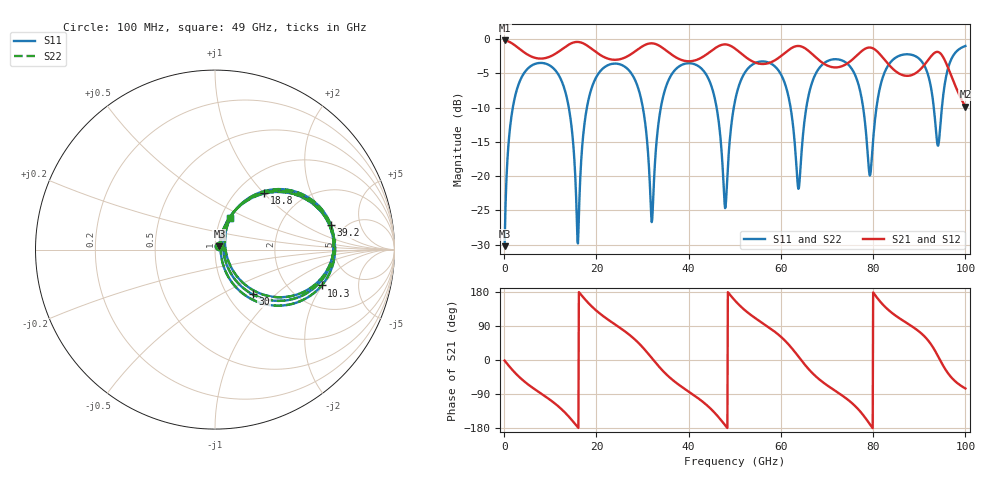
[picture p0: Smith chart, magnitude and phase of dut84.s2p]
! Touchstone file exported from HFSS 2026.1.0
!  File:  C:/ffzhzh/LocalFiles/Ansys_Project_Files/temp_train_TSV_RDL_84_1783451899_7600.aedt
!  Generated:  03:37:07 AM Jul  8, 2026
!  Design:  TSV_RDL
!  Project:  temp_train_TSV_RDL_84_1783451899_7600
! Variables:
!  h_bsmrdl = 3.26um
!  h_ox = 20um
!  h_rdl = 5um
!  h_sub = 93.57um
!  h_tmrdl = 3.84um
!  h_tsv = 93.57um
!  h_via = 3um
!  l_bsmrdl = 325.99um
!  l_sub = 3578.33um
!  l_tmrdl = 530.68um
!  m_sub = 200um
!  pitch = 57.56um
!  r_tsv = 6.75um
!  s_tmrdl = 10um
!  w_bsmrdl = 11.07um
!  w_sub = 500um
!  w_tmrdl = 14.81um
!  x_tsv_center1 = 538.085um
!  x_tsv_center2 = 875.145um
!  x_tsv_center3 = 1420.635um
!  x_tsv_center4 = 1757.695um
!  x_tsv_center5 = 2303.185um
!  x_tsv_center6 = 2640.245um
# GHz S MA R 50.000000
! Terminal data exported
! Port[1] = TM_RDL1_1_T1
! Port[2] = TM_RDL5_1_T1
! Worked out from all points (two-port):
!   1000 points, 100 MHz to 100 GHz, reference 50 ohm
!   highest |S21| = -0.22 dB at 100 MHz (marker M1); lowest = -9.9 dB at 100 GHz (marker M2)
!   |S21| within 3 dB of the highest: start of sweep to 39.36 GHz; 40.78 GHz to 53.68 GHz (12.91 GHz wide, 27.3 % of centre) (the widest 2 of 5)
!   lowest |S11| = -30.2 dB at 100 MHz (marker M3), VSWR 1.06, Z = 52.5 + j1.91 ohm
!   |S11| at or under -10 dB: 14.02 GHz to 17.94 GHz (3.927 GHz wide, 24.6 % of centre); 30.07 GHz to 33.97 GHz (3.905 GHz wide, 12.2 % of centre); 46.06 GHz to 49.79 GHz (3.726 GHz wide, 7.77 % of centre) (the widest 3 of 7)
!   |S22| runs from -30.2 to -1.0 dB; largest |S21 - S12| = 9.3e-14
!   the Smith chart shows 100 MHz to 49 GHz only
!   S11 on the Smith chart (normalised r, x): 100 MHz: 1.05, +0.04; 10.3 GHz: 2.97, -1.96; 18.8 GHz: 1.31, +1.02; 30 GHz: 1.30, -0.73; 39.2 GHz: 3.90, +1.90; 49 GHz: 1.11, +0.41
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0.1  0.03083 36.1  0.9754 -1.6  0.9754 -1.6  0.03083 36.1
! Gamma 0 0 0 0
! Port Impedance 50 0 50 0
2.8  0.4322 47.1  0.8743 -39.2  0.8743 -39.2  0.4322 47.1
10.3  0.6271 -18.6  0.7535 -108.2  0.7535 -108.2  0.6271 -18.6
15.9  0.03389 -18.1  0.9518 -176.4  0.9518 -176.4  0.03403 -18.0
16.8  0.145 66.7  0.9392 170.4  0.9392 170.4  0.145 66.6
18.8  0.4206 49.1  0.856 143.7  0.856 143.7  0.4206 49.1
30  0.3256 -50.0  0.8846 33.9  0.8846 33.9  0.3256 -49.9
32  0.04617 0.1  0.93 5.3  0.93 5.3  0.0469 0.2
33.4  0.234 63.3  0.9017 -15.1  0.9017 -15.1  0.2342 63.1
39.2  0.6596 12.0  0.692 -76.8  0.692 -76.8  0.6597 11.9
45  0.4465 -36.5  0.8226 -131.3  0.8226 -131.3  0.4466 -36.5
47.9  0.05836 1.5  0.9128 -171.9  0.9128 -171.9  0.05835 1.4
49  0.1962 64.3  0.8943 171.6  0.8943 171.6  0.1962 64.2
50.1  0.3597 57.5  0.8489 156.1  0.8489 156.1  0.3596 57.4
60.4  0.5191 -27.9  0.7683 56.8  0.7683 56.8  0.519 -28.0
63.8  0.08072 5.8  0.8893 9.2  0.8893 9.2  0.08001 5.8
66.7  0.4747 48.9  0.7802 -33.0  0.7802 -33.0  0.4746 49.0
76.5  0.5035 -29.2  0.7598 -126.5  0.7598 -126.5  0.5035 -29.2
79.3  0.1008 9.3  0.8661 -169.6  0.8661 -169.6  0.1014 9.3
83.4  0.6517 35.3  0.6491 131.1  0.6491 131.1  0.6518 35.2
94.1  0.1667 11.0  0.8037 9.3  0.8037 9.3  0.1622 11.0
100  0.889 9.4  0.3202 -75.2  0.3202 -75.2  0.8886 9.5
